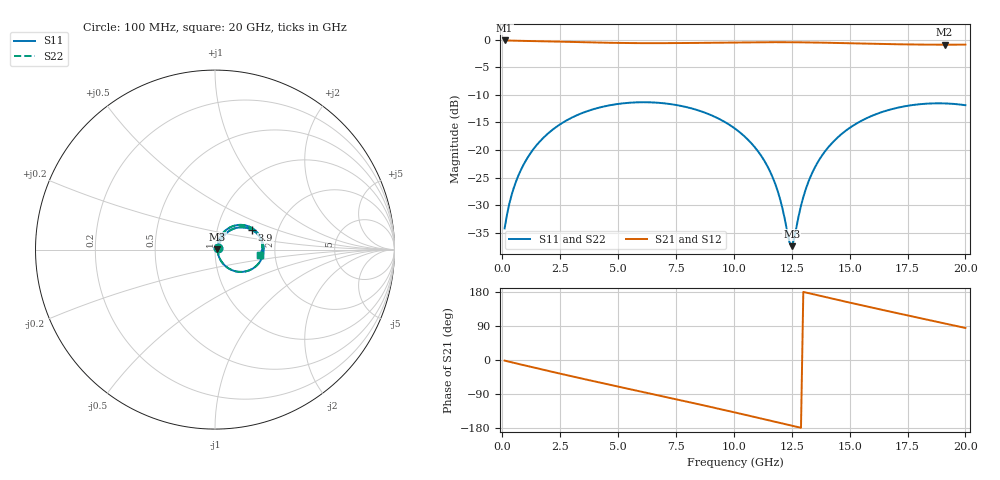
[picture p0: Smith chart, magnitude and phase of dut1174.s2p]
! Touchstone file exported from HFSS 2026.1.0
!  File:  C:/ffzhzh/LocalFiles/Ansys_Project_Files/temp_train_TSV_RDL_1174_1783314747_30076.aedt
!  Generated:  01:25:09 PM Jul  6, 2026
!  Design:  TSV_RDL
!  Project:  temp_train_TSV_RDL_1174_1783314747_30076
! Variables:
!  h_bsmrdl = 2.55um
!  h_ox = 20um
!  h_rdl = 5um
!  h_sub = 89.16um
!  h_tmrdl = 4.11um
!  h_tsv = 89.16um
!  h_via = 3um
!  l_bsmrdl = 320.15um
!  l_sub = 4554.62um
!  l_tmrdl = 760.69um
!  m_sub = 200um
!  pitch = 39.36um
!  r_tsv = 11.14um
!  s_tmrdl = 10um
!  w_bsmrdl = 23.67um
!  w_sub = 500um
!  w_tmrdl = 26.8um
!  x_tsv_center1 = 774.09um
!  x_tsv_center2 = 1117.91um
!  x_tsv_center3 = 1905.4um
!  x_tsv_center4 = 2249.22um
!  x_tsv_center5 = 3036.71um
!  x_tsv_center6 = 3380.53um
# GHz S MA R 50.000000
! Terminal data exported
! Port[1] = TM_RDL1_1_T1
! Port[2] = TM_RDL5_1_T1
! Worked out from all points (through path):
!   200 points, 100 MHz to 20 GHz, reference 50 ohm
!   highest |S21| = -0.15 dB at 100 MHz (marker M1); lowest = -0.9 dB at 19.1 GHz (marker M2)
!   group delay of S21, straight-line fit = 38.3 ps
!   lowest |S11| = -37.4 dB at 12.5 GHz (marker M3), VSWR 1.03, Z = 51.4 + j0.166 ohm
!   |S11| at or under -10 dB: start of sweep to end of sweep
!   |S22| runs from -37.4 to -11.3 dB; largest |S21 - S12| = 1.7e-14
!   S11 on the Smith chart (normalised r, x): 100 MHz: 1.03, +0.02; 3.9 GHz: 1.47, +0.34; 20 GHz: 1.67, -0.11
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0.1  0.01948 27.8  0.983 -1.6  0.983 -1.6  0.01948 27.8
! Gamma 0 0 0 0
! Port Impedance 50 0 50 0
0.5  0.04562 54.8  0.978 -7.5  0.978 -7.5  0.04562 54.8
1.2  0.09233 57.4  0.9719 -17.6  0.9719 -17.6  0.09233 57.4
2.2  0.1544 48.6  0.9618 -31.8  0.9618 -31.8  0.1544 48.6
3.5  0.2182 33.1  0.947 -49.9  0.947 -49.9  0.2182 33.1
3.9  0.2331 28.1  0.9429 -55.3  0.9429 -55.3  0.2331 28.1
5.3  0.2659 10.5  0.932 -74.2  0.932 -74.2  0.2659 10.5
6.8  0.2672 -8.3  0.9289 -94.1  0.9289 -94.1  0.2672 -8.3
8.4  0.2308 -28.5  0.9344 -115.7  0.9344 -115.7  0.2308 -28.5
10.1  0.1535 -49.4  0.944 -139.2  0.944 -139.2  0.1535 -49.4
11  0.1 -58.9  0.9475 -151.9  0.9475 -151.9  0.1 -58.9
11.6  0.06152 -62.3  0.9484 -160.4  0.9484 -160.4  0.06152 -62.2
12  0.03572 -58.3  0.9482 -166.1  0.9482 -166.1  0.03574 -58.2
12.4  0.01463 -19.4  0.9473 -171.8  0.9473 -171.8  0.01472 -19.2
12.5  0.01345 6.9  0.9469 -173.2  0.9469 -173.2  0.01356 7.0
13  0.03744 64.9  0.9447 179.7  0.9447 179.7  0.0375 64.7
13.4  0.06307 68.1  0.9421 174.0  0.9421 174.0  0.06312 68.0
14  0.101 64.6  0.9373 165.5  0.9373 165.5  0.1011 64.5
14.7  0.1422 57.4  0.9307 155.7  0.9307 155.7  0.1423 57.3
16.7  0.2309 33.4  0.9107 128.4  0.9107 128.4  0.2309 33.3
19.1  0.2644 3.8  0.8999 96.5  0.8999 96.5  0.2644 3.8
20  0.2546 -7.2  0.9013 84.6  0.9013 84.6  0.2547 -7.2
